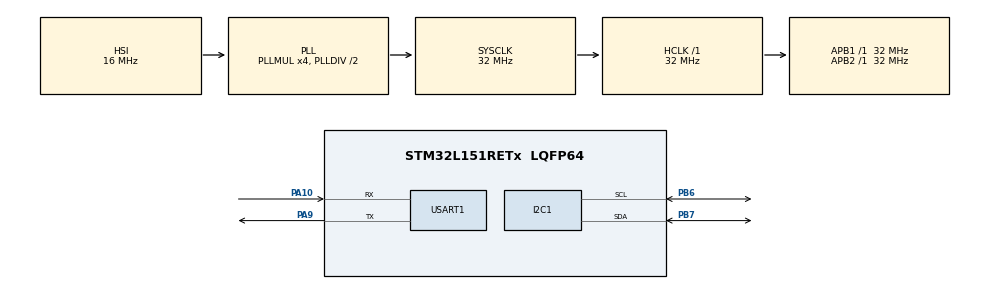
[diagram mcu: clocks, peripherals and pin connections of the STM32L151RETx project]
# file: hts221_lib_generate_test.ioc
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Mcu.Family=STM32L1
RCC.MSI_VALUE=2097000
PA10.Mode=Asynchronous
RCC.SYSCLKSource=RCC_SYSCLKSOURCE_PLLCLK
ProjectManager.StackSize=0x400
PA9.Mode=Asynchronous
ProjectManager.TargetToolchain=STM32CubeIDE
RCC.HCLKFreq_Value=32000000
RCC.APB2TimFreq_Value=32000000
PA9.Signal=USART1_TX
PB6.Signal=I2C1_SCL
PB6.Mode=I2C
RCC.LSE_VALUE=32768
RCC.AHBFreq_Value=32000000
RCC.HSE_VALUE=24000000
board=custom
RCC.VCOOutputFreq_Value=64000000
RCC.PLLMUL=RCC_PLL_MUL4
RCC.APB2Freq_Value=32000000
PB7.Signal=I2C1_SDA
Mcu.Name=STM32L151RETx
RCC.48MHZClocksFreq_Value=32000000
RCC.SYSCLKFreq_VALUE=32000000
Mcu.Package=LQFP64
USART1.VirtualMode=VM_ASYNC
PB7.Mode=I2C
PA10.Signal=USART1_RX
ProjectManager.HeapSize=0x200
RCC.HSI_VALUE=16000000
NVIC.PriorityGroup=NVIC_PRIORITYGROUP_4
RCC.APB1TimFreq_Value=32000000
RCC.APB1Freq_Value=32000000

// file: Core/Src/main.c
/* USER CODE BEGIN Header */
/**
  ******************************************************************************
  * @file           : main.c
  * @brief          : Main program body
  ******************************************************************************
  * @attention
  *
  * <h2><center>&copy; Copyright (c) 2021 STMicroelectronics.
  * All rights reserved.</center></h2>
  *
  * This software component is licensed by ST under BSD 3-Clause license,
  * the "License"; You may not use this file except in compliance with the
  * License. You may obtain a copy of the License at:
  *                        opensource.org/licenses/BSD-3-Clause
  *
  ******************************************************************************
  */
/* USER CODE END Header */
#include "main.h"

/* USER CODE BEGIN Includes */
#include "HTS221_anklabs.h"
#include "HAL_I2C_anklabs.h"
/* USER CODE END Includes */

I2C_HandleTypeDef hi2c1;
UART_HandleTypeDef huart1;
/* USER CODE BEGIN PV */
uint8_t SET_val[5];
int16_t dig_5, dig_4, dig_3, dig_2, dig_1;
/* USER CODE END PV */

void SystemClock_Config(void);
static void MX_GPIO_Init(void);
static void MX_I2C1_Init(void);
static void MX_USART1_UART_Init(void);
/* USER CODE BEGIN PFP */
void fsplit(int16_t dig_val);
/* USER CODE END PFP */

int main(void)
{

  /* MCU Configuration--------------------------------------------------------*/

  /* Reset of all peripherals, Initializes the Flash interface and the Systick. */
  HAL_Init();

  /* Configure the system clock */
  SystemClock_Config();

  /* Initialize all configured peripherals */
  MX_GPIO_Init();
  MX_I2C1_Init();
  MX_USART1_UART_Init();
  HTS221_I();
  /* Infinite loop */
  /* USER CODE BEGIN WHILE */
  while (1)
  {
	  uint8_t Device_ID = 49;
	  int32_t Temperature = 0;
	  int32_t Humidity = 0;
///////////////////////////////////////////////////////////////////////////////////
	  Device_ID = HTS221_Dev_ID();
//////////////////////////////////////////////////////////////////////////////////
	  if(HTS221_Detected()){
		  HAL_UART_Transmit(&huart1, "HTS221 Detected" "\n", 16, 500);
	  }
	  else
	  {
		  HAL_UART_Transmit(&huart1, "HTS221 Not Detected" "\n", 20, 500);
	  }
///////////////////////////////////////////////////////////////////////////////////

///////////////////////////////////////////////////////////////////////////////////
	  HTS221_Average_func();
//////////////////////////////////////////////////////////////////////////////////
	  HTS221_Start_conversion();
//////////////////////////////////////////////////////////////////////////////////
	  HAL_UART_Transmit(&huart1, "HTS221 Data_Ready_T" "\n", 20, 500);
	  if(HTS221_Data_Ready_T()){
		  Temperature = HTS221_Read_temp();
		  fsplit(Temperature);
		  HAL_UART_Transmit(&huart1, "Temperature : " , 14, 500);
		  HAL_UART_Transmit(&huart1, SET_val, 5, 500);
		  HAL_UART_Transmit(&huart1, "\n", 1, 500);
	  }
//////////////////////////////////////////////////////////////////////////////////
	  HAL_UART_Transmit(&huart1, "HTS221 Data_Ready_H" "\n", 20, 500);
	  if(HTS221_Data_Ready_H()){
		  Humidity = HTS221_Read_humi();
		  fsplit(Humidity);
		  HAL_UART_Transmit(&huart1, "Humidity : " , 11, 500);
		  HAL_UART_Transmit(&huart1, SET_val, 5, 500);
		  HAL_UART_Transmit(&huart1, "\n", 1, 500);
	  }
//////////////////////////////////////////////////////////////////////////////////////
	  HAL_UART_Transmit(&huart1, "HTS221 Data_Ready_" "\n", 19, 500);
	  HAL_Delay(3000);
	  if(HTS221_Data_Ready()){
		  Temperature = HTS221_Read_temp();
		  Humidity = HTS221_Read_humi();
		  fsplit(Temperature);
		  HAL_UART_Transmit(&huart1, "Temperature : " , 14, 500);
		  HAL_UART_Transmit(&huart1, SET_val, 5, 500);
		  HAL_UART_Transmit(&huart1, "\n", 1, 500);
		  fsplit(Humidity);
		  HAL_UART_Transmit(&huart1, "Humidity : " , 11, 500);
		  HAL_UART_Transmit(&huart1, SET_val, 5, 500);
		  HAL_UART_Transmit(&huart1, "\n", 1, 500);
	  }
///////////////////////////////////////////////////////////////////////////////////
    /* USER CODE END WHILE */
HAL_Delay(1000);
  }
}

void SystemClock_Config(void)
{
  RCC_OscInitTypeDef RCC_OscInitStruct = {0};
  RCC_ClkInitTypeDef RCC_ClkInitStruct = {0};

  /** Configure the main internal regulator output voltage
  */
  __HAL_PWR_VOLTAGESCALING_CONFIG(PWR_REGULATOR_VOLTAGE_SCALE1);
  /** Initializes the RCC Oscillators according to the specified parameters
  * in the RCC_OscInitTypeDef structure.
  */
  RCC_OscInitStruct.OscillatorType = RCC_OSCILLATORTYPE_HSI;
  RCC_OscInitStruct.HSIState = RCC_HSI_ON;
  RCC_OscInitStruct.HSICalibrationValue = RCC_HSICALIBRATION_DEFAULT;
  RCC_OscInitStruct.PLL.PLLState = RCC_PLL_ON;
  RCC_OscInitStruct.PLL.PLLSource = RCC_PLLSOURCE_HSI;
  RCC_OscInitStruct.PLL.PLLMUL = RCC_PLL_MUL4;
  RCC_OscInitStruct.PLL.PLLDIV = RCC_PLL_DIV2;
  if (HAL_RCC_OscConfig(&RCC_OscInitStruct) != HAL_OK)
  {
    Error_Handler();
  }
  /** Initializes the CPU, AHB and APB buses clocks
  */
  RCC_ClkInitStruct.ClockType = RCC_CLOCKTYPE_HCLK|RCC_CLOCKTYPE_SYSCLK
                              |RCC_CLOCKTYPE_PCLK1|RCC_CLOCKTYPE_PCLK2;
  RCC_ClkInitStruct.SYSCLKSource = RCC_SYSCLKSOURCE_PLLCLK;
  RCC_ClkInitStruct.AHBCLKDivider = RCC_SYSCLK_DIV1;
  RCC_ClkInitStruct.APB1CLKDivider = RCC_HCLK_DIV1;
  RCC_ClkInitStruct.APB2CLKDivider = RCC_HCLK_DIV1;

  if (HAL_RCC_ClockConfig(&RCC_ClkInitStruct, FLASH_LATENCY_1) != HAL_OK)
  {
    Error_Handler();
  }
}

static void MX_I2C1_Init(void)
{

  hi2c1.Instance = I2C1;
  hi2c1.Init.ClockSpeed = 100000;
  hi2c1.Init.DutyCycle = I2C_DUTYCYCLE_2;
  hi2c1.Init.OwnAddress1 = 0;
  hi2c1.Init.AddressingMode = I2C_ADDRESSINGMODE_7BIT;
  hi2c1.Init.DualAddressMode = I2C_DUALADDRESS_DISABLE;
  hi2c1.Init.OwnAddress2 = 0;
  hi2c1.Init.GeneralCallMode = I2C_GENERALCALL_DISABLE;
  hi2c1.Init.NoStretchMode = I2C_NOSTRETCH_DISABLE;
  if (HAL_I2C_Init(&hi2c1) != HAL_OK)
  {
    Error_Handler();
  }

}

static void MX_USART1_UART_Init(void)
{

  huart1.Instance = USART1;
  huart1.Init.BaudRate = 115200;
  huart1.Init.WordLength = UART_WORDLENGTH_8B;
  huart1.Init.StopBits = UART_STOPBITS_1;
  huart1.Init.Parity = UART_PARITY_NONE;
  huart1.Init.Mode = UART_MODE_TX_RX;
  huart1.Init.HwFlowCtl = UART_HWCONTROL_NONE;
  huart1.Init.OverSampling = UART_OVERSAMPLING_16;
  if (HAL_UART_Init(&huart1) != HAL_OK)
  {
    Error_Handler();
  }

}

static void MX_GPIO_Init(void)
{

  /* GPIO Ports Clock Enable */
  __HAL_RCC_GPIOA_CLK_ENABLE();
  __HAL_RCC_GPIOB_CLK_ENABLE();

}

/* USER CODE BEGIN 4 */
void fsplit(int16_t dig_val){
	dig_5 = (dig_val/1000)%10;
	SET_val[0] = dig_5 + 48;
	dig_4 = (dig_val/100)%10;
	SET_val[1] = dig_4 + 48;
	//dig_3 = (dig_val/100)%10;
	SET_val[2] = 46;
	dig_2 = (dig_val/10)%10;
	SET_val[3] = dig_2 + 48;
	dig_1 = (dig_val/1)%10;
	SET_val[4] = dig_1 + 48;
}
/* USER CODE END 4 */

void Error_Handler(void)
{
  __disable_irq();
  while (1)
  {
  }
}

/************************ (C) COPYRIGHT STMicroelectronics *****END OF FILE****/
